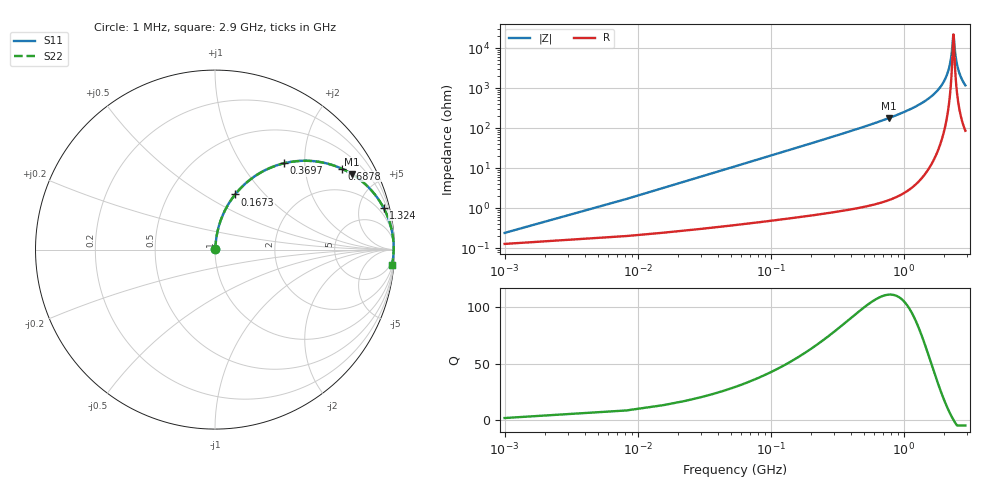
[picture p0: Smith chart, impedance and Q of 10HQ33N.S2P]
! Coilcraft 1008HQ-33N Chip Inductor
! 10 July 2002
# MHZ S MA R 50
!Freq  MagS11  AngS11  MagS21  AngS21  MagS12  AngS12  MagS22  AngS22
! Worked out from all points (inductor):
!   402 points, 1 MHz to 2.9 GHz, reference 50 ohm
!   read as one part in series: L = 33 nH near 15.46 MHz
!   highest Q = 111 at 774.6 MHz (marker M1), where L = 37 nH
!   self-resonance near 2.358 GHz
!   S11 on the Smith chart (normalised r, x): 1 MHz: 1.00, +0.00; 167.3 MHz: 1.01, +0.70; 369.7 MHz: 1.02, +1.57; 687.9 MHz: 1.03, +3.12; 1.324 GHz: 1.10, +8.02; 2.9 GHz: 3, -23
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1  0.002444 57.8  0.9987 -0.1  0.9987 -0.1  0.002444 57.8
22.69  0.04695 83.9  0.9961 -2.7  0.9961 -2.7  0.04695 83.9
44.38  0.09141 82.5  0.9923 -5.2  0.9923 -5.2  0.09141 82.5
94.99  0.1927 77.5  0.9766 -11.1  0.9766 -11.1  0.1927 77.5
167.29  0.3275 69.9  0.9391 -19.1  0.9391 -19.1  0.3275 69.9
369.73  0.6145 51.4  0.7819 -37.9  0.7819 -37.9  0.6145 51.4
485.41  0.7208 43.3  0.6858 -46.1  0.6858 -46.1  0.7208 43.3
687.85  0.8382 32.5  0.5377 -57.0  0.5377 -57.0  0.8382 32.5
774.61  0.8709 28.9  0.4837 -60.6  0.4837 -60.6  0.8709 28.9
969.82  0.9212 22.4  0.3806 -67.1  0.3806 -67.1  0.9212 22.4
1324.09  0.9674 14.0  0.2413 -75.3  0.2413 -75.3  0.9674 14.0
1454.23  0.9766 11.6  0.2008 -77.5  0.2008 -77.5  0.9766 11.6
1938.64  0.9932 4.6  0.08024 -82.8  0.08024 -82.8  0.9932 4.6
2097.7  0.9949 2.7  0.04799 -82.6  0.04799 -82.6  0.9949 2.7
2206.15  0.9955 1.6  0.02757 -79.7  0.02757 -79.7  0.9955 1.6
2278.45  0.9956 0.8  0.01476 -72.1  0.01476 -72.1  0.9956 0.8
2357.98  0.9954 0.0  0.004553 -1.8  0.004553 -1.8  0.9954 0.0
2372.44  0.9954 -0.1  0.005153 26.9  0.005153 26.9  0.9954 -0.1
2423.05  0.9952 -0.6  0.01191 66.0  0.01191 66.0  0.9952 -0.6
2488.12  0.9949 -1.2  0.02226 76.0  0.02226 76.0  0.9949 -1.2
2589.34  0.9941 -2.2  0.0383 80.0  0.0383 80.0  0.9941 -2.2
2900  0.9902 -4.8  0.08442 80.9  0.08442 80.9  0.9902 -4.8
